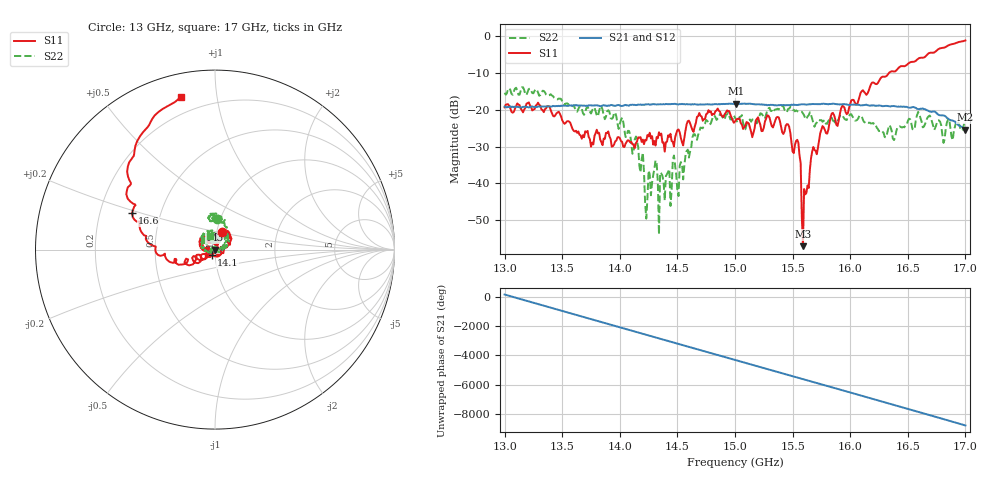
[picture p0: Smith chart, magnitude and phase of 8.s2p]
!Keysight Technologies,P9374A,MY57211807,A.19.30.04
!Date: Friday, May 01, 2026 14:07:56
!Correction: S11(C  2-Port  )
!S21(C  2-Port  )
!S12(C  2-Port  )
!S22(C  2-Port  )
!S2P File: Measurements: S11, S21, S12, S22:
# Hz S  RI  R 50
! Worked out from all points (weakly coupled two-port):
!   401 points, 13 GHz to 17 GHz, reference 50 ohm
!   highest |S21| = -18.33 dB at 15.01 GHz (marker M1); lowest = -25.4 dB at 17 GHz (marker M2)
!   lowest |S11| = -57.1 dB at 15.59 GHz (marker M3), VSWR 1.00, Z = 49.9 - j0.0867 ohm
!   |S11| at or under -10 dB: start of sweep to 16.34 GHz
!   |S22| runs from -53.9 to -13.9 dB; largest |S21 - S12| = 0.0019
!   S11 on the Smith chart (normalised r, x): 13 GHz: 1.06, +0.21; 14.1 GHz: 0.96, -0.06; 16.6 GHz: 0.34, +0.19; 17 GHz: 0.11, +0.79
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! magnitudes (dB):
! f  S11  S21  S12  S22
! 13 GHz  -19.4  -19.2  -19.1  -15.4
! 13.38 GHz  -19.0  -19.1  -19.1  -16.1
! 13.67 GHz  -27.9  -18.8  -18.8  -19.7
! 13.95 GHz  -29.5  -18.9  -18.9  -20.8
! 14.1 GHz  -28.7  -18.7  -18.7  -29.5
! 14.15 GHz  -28.6  -18.7  -18.7  -28.8
! 14.23 GHz  -28.3  -18.6  -18.5  -49.6
! 14.3 GHz  -28.5  -18.5  -18.5  -36.1
! 14.34 GHz  -26.1  -18.6  -18.6  -53.9
! 14.51 GHz  -25.4  -18.6  -18.6  -43.5
! 14.75 GHz  -21.2  -18.5  -18.5  -22.8
! 15 GHz  -23.2  -18.4  -18.4  -22.1
! 15.01 GHz  -22.7  -18.3  -18.3  -22.7
! 15.46 GHz  -24.0  -18.8  -18.7  -19.8
! 15.55 GHz  -28.9  -18.7  -18.7  -20.5
! 15.59 GHz  -57.1  -18.5  -18.5  -21.0
! 15.67 GHz  -31.4  -18.5  -18.4  -22.4
! 15.84 GHz  -21.0  -18.4  -18.4  -22.2
! 16.34 GHz  -9.9  -19.0  -19.0  -24.2
! 16.6 GHz  -6.0  -19.9  -19.8  -21.1
! 16.81 GHz  -3.2  -21.6  -21.5  -29.0
! 17 GHz  -1.2  -25.4  -25.4  -21.9
